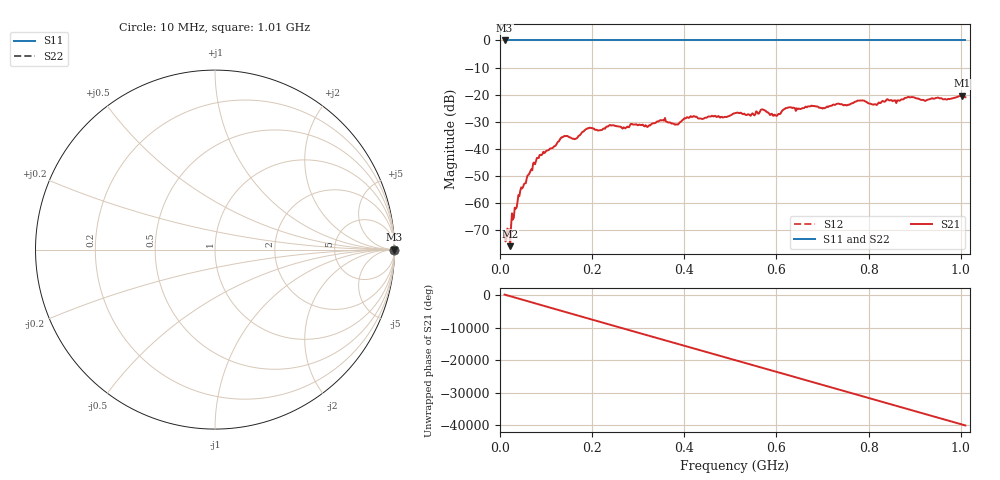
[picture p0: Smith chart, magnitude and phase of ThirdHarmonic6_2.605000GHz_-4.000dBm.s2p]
! 8/17/2025 5:39:52 AM
! C:\ANRITSUVNA\TEMP\TEMP.S2P
! CHANNEL.1
! TR.MEASUREMENT
! RAW.DATA
! RF.CORRECTION.OFF
! AVERAGING.OFF
! IF.BANDWIDTH: 5KHZ
! SWEEPTYPE:  FREQ.SWEEP(Linear)
! Reference Plane Port Info
! PORT:  PORT1  PORT2
! DISTANCE:  0  m  0  m
! TIME:  0  s  0  s
! PHASE.OFFSET:  0  deg.  0  deg.
! LOSS:  0  dB  0  dB
! REF.LOSS:  0  dB  0  dB
! REF.FREQ:  0  Hz  0  Hz
! Power Info
! POWER:  -20  dBm  -20  dBm
! EFF.POWER:  -20  dBm  -20  dBm
! SOURCE.ATTEN:  0  dB  0  dB
! TEST.ATTEN:  0  dB  0  dB
# GHZ S RI R 50.0
! FREQ.GHZ  S11RE  S11IM  S21RE  S21IM  S12RE  S12IM  S22RE  S22IM
!; PortSelection: Port_12
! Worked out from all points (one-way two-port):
!   501 points, 10 MHz to 1.01 GHz, reference 50 ohm
!   highest |S21| = -20.37 dB at 1.002 GHz (marker M1); lowest = -76.0 dB at 22 MHz (marker M2)
!   lowest |S11| = 0.0 dB at 10 MHz (marker M3)
!   |S11| at or under -10 dB: nowhere
!   |S22| runs from 0.0 to 0.0 dB; largest |S21 - S12| = 1.1
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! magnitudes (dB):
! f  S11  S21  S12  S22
! 10 MHz  0.0  -71.9  0.0  0.0
! 22 MHz  0.0  -76.0  0.0  0.0
! 44 MHz  0.0  -55.5  0.0  0.0
! 84 MHz  0.0  -43.4  0.0  0.0
! 136 MHz  0.0  -35.8  0.0  0.0
! 164 MHz  0.0  -36.4  0.0  0.0
! 178 MHz  0.0  -33.9  0.0  0.0
! 194 MHz  0.0  -32.2  0.0  0.0
! 344 MHz  0.0  -29.9  0.0  0.0
! 384 MHz  0.0  -31.0  0.0  0.0
! 416 MHz  0.0  -28.2  0.0  0.0
! 510 MHz  0.0  -26.8  0.0  0.0
! 548 MHz  0.0  -26.9  0.0  0.0
! 570 MHz  0.0  -25.4  0.0  0.0
! 598 MHz  0.0  -27.7  0.0  0.0
! 624 MHz  0.0  -24.9  0.0  0.0
! 678 MHz  0.0  -24.2  0.0  0.0
! 782 MHz  0.0  -22.2  0.0  0.0
! 814 MHz  0.0  -23.5  0.0  0.0
! 844 MHz  0.0  -22.1  0.0  0.0
! 1.002 GHz  0.0  -20.4  0.0  0.0
! 1.01 GHz  0.0  -21.0  0.0  0.0
